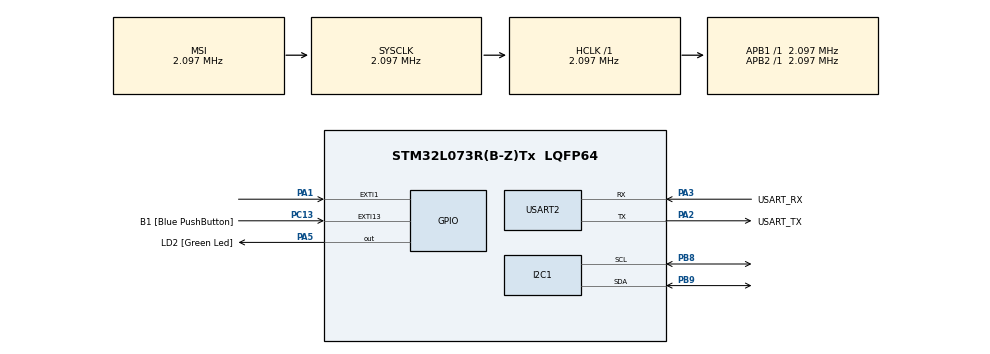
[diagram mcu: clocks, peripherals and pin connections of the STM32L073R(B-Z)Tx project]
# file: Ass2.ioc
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I2C1.Timing=0x00000608
Mcu.Family=STM32L0
Mcu.Name=STM32L073R(B-Z)Tx
Mcu.Package=LQFP64
NVIC.EXTI0_1_IRQn=true\:0\:0\:false\:false\:true\:true\:true\:true
PA1.GPIO_ModeDefaultEXTI=GPIO_MODE_IT_FALLING
PA1.GPIO_PuPd=GPIO_PULLUP
PA1.Signal=GPXTI1
PA13.GPIO_Label=TMS
PA13.Mode=Serial_Wire
PA13.Signal=SYS_SWDIO
PA14.GPIO_Label=TCK
PA14.Mode=Serial_Wire
PA14.Signal=SYS_SWCLK
PA2.GPIO_Label=USART_TX
PA2.Mode=Asynchronous
PA2.Signal=USART2_TX
PA3.GPIO_Label=USART_RX
PA3.Mode=Asynchronous
PA3.Signal=USART2_RX
PA5.GPIO_Label=LD2 [Green Led]
PA5.Signal=GPIO_Output
PB8.Mode=I2C
PB8.Signal=I2C1_SCL
PB9.Mode=I2C
PB9.Signal=I2C1_SDA
PC13.GPIO_Label=B1 [Blue PushButton]
PC13.GPIO_ModeDefaultEXTI=GPIO_MODE_IT_FALLING
PC13.Signal=GPXTI13
PC14-OSC32_IN.Mode=LSE-External-Oscillator
PC14-OSC32_IN.Signal=RCC_OSC32_IN
PC15-OSC32_OUT.Mode=LSE-External-Oscillator
PC15-OSC32_OUT.Signal=RCC_OSC32_OUT
PH0-OSC_IN.GPIO_Label=MCO
PH0-OSC_IN.Mode=HSE-External-Clock-Source
PH0-OSC_IN.Signal=RCC_OSC_IN
ProjectManager.HeapSize=0x200
ProjectManager.StackSize=0x400
ProjectManager.TargetToolchain=STM32CubeIDE
RCC.AHBFreq_Value=2097000
RCC.APB1Freq_Value=2097000
RCC.APB1TimFreq_Value=2097000
RCC.APB2Freq_Value=2097000
RCC.APB2TimFreq_Value=2097000
RCC.HSE_VALUE=8000000
RCC.HSI16_VALUE=16000000
RCC.HSI48_VALUE=48000000
RCC.HSI_VALUE=16000000
RCC.MSI_VALUE=2097000
RCC.SYSCLKFreq_VALUE=2097000
RCC.VCOOutputFreq_Value=48000000
USART2.VirtualMode-Asynchronous=VM_ASYNC
board=NUCLEO-L073RZ

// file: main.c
/* USER CODE BEGIN Header */
/**
  ******************************************************************************
  * @file           : main.c
  * @brief          : Main program body
  ******************************************************************************
  * @attention
  *
  * Copyright (c) 2024 STMicroelectronics.
  * All rights reserved.
  *
  * This software is licensed under terms that can be found in the LICENSE file
  * in the root directory of this software component.
  * If no LICENSE file comes with this software, it is provided AS-IS.
  *
  ******************************************************************************
  */
/* USER CODE END Header */
#include "main.h"

/* USER CODE BEGIN Includes */
#include "new_funcs.h"
#include <stdbool.h>
#include "filter.h"
#include <stdio.h>
#include <string.h>
/* USER CODE END Includes */

/* USER CODE BEGIN PD */
const float rThreshold = 0.7;

const float kLowPassCutoff = 5.0;   // 5 hz
const float kHighPassCutoff = 0.5;  // 0.5 hz
const float kSamplingFrequency = 400.0;
const float kEdgeThreshold = -2000.0;

const unsigned long kFingerThreshold = 10000;
const unsigned int kFingerCooldownMs = 500;

const float decayRate = 0.02;
const float thrRate = 0.05;
const int minDiff = 50;
const uint32_t fingerThreshold = 10000;  // threshold for detecting a finger on the sensor

float maxValue = 0;
float minValue = 0;
float threshold = 0;
long lastHeartbeat = 0;
float lastValue = 0;
int fingerDetected = 0;  // variable to track whether the finger is detected

float last_diff = NAN;
bool crossed = false;
long crossed_time = 0;
/* variables */
LowPassFilter low_pass_filter_red;
LowPassFilter low_pass_filter_ir;
HighPassFilter high_pass_filter;
LowPassFilter low_pass_filter;
Differentiator differentiator;
MovingAverageFilter moving_avg_filter;
MovingAverageFilter moving_avg_bpm;
MovingAverageFilter moving_avg_spo2;
/* statistic Variables */
MinMaxAvgStatistic stat_red;
MinMaxAvgStatistic stat_ir;

/* finger Detection */
long finger_timestamp = 0;
bool finger_detected = false;

/* mode */
#define	TEMPERATURE 1
#define HEARTRATE_SPO2 2

/* USER CODE END PD */

I2C_HandleTypeDef hi2c1;

UART_HandleTypeDef huart2;

/* USER CODE BEGIN PV */
// fnterrupt callback for PA1 external interrupt
void HAL_GPIO_EXTI_Callback(uint16_t GPIO_Pin) {
    if (GPIO_Pin == GPIO_PIN_1) {  // check if PA1 triggered the interrupt
    	// Debug message to check if interrupt is being triggered
    	__HAL_GPIO_EXTI_CLEAR_FLAG(GPIO_PIN_1);

    	        char debugMsg[] = "Interrupt Triggered!\r\n";
    	        HAL_UART_Transmit(&huart2, (uint8_t*)debugMsg, strlen(debugMsg), HAL_MAX_DELAY);

        uint8_t intStatus = 0;
        HAL_I2C_Mem_Read(&hi2c1, MAX30102_ADDRESS << 1, MAX30105_INTSTAT2, I2C_MEMADD_SIZE_8BIT, &intStatus, 1, HAL_MAX_DELAY);

        if (intStatus & MAX30105_INT_DIE_TEMP_RDY_ENABLE) {  // if temperature ready
            float temperature = MAX30102_ReadTemperature(&hi2c1);  // read temperature
            char uartBuf[100];
            sprintf(uartBuf, "Temperature: %.2f°C\r\n", temperature);
            HAL_UART_Transmit(&huart2, (uint8_t*)uartBuf, strlen(uartBuf), HAL_MAX_DELAY);
        }

    }
}

/* USER CODE END PV */

void SystemClock_Config(void);
static void MX_GPIO_Init(void);
static void MX_USART2_UART_Init(void);
static void MX_I2C1_Init(void);

/* USER CODE BEGIN 0 */
void measure_temperature(char* uartBuf) {
	// Measuring Temperature through interrupts
	  sprintf(uartBuf, "Waiting for Temperature.......\r\n");
	  HAL_UART_Transmit(&huart2, (uint8_t*)uartBuf, strlen(uartBuf), HAL_MAX_DELAY);

	 MAX30102_StartTemperatureMeasurement(&hi2c1);

	 HAL_Delay(1000);
}

void heart_rate_measurement(int current_value_red, int current_value_ir, char* uartBuf) {
	// Apply Filters to Red and IR signals
	  current_value_red = LowPassFilter_Process(&low_pass_filter_red, current_value_red);
	  current_value_ir = LowPassFilter_Process(&low_pass_filter_ir, current_value_ir);

	  // Update statistics for both Red and IR signals
	  MinMaxAvgStatistic_Process(&stat_red, current_value_red);
	  MinMaxAvgStatistic_Process(&stat_ir, current_value_ir);

	  // Apply High Pass Filter for heartbeat detection on the Red LED
	  float current_value = HighPassFilter_Process(&high_pass_filter, current_value_red);
	  float current_diff = Differentiator_Process(&differentiator, current_value);

	  if (!isnan(current_diff) && !isnan(last_diff)) {
		  // Detect heartbeat via zero-crossing
		  if (last_diff > 0 && current_diff < 0) {
			  crossed = true;
			  crossed_time = HAL_GetTick();
		  }

		  if (crossed && current_diff < kEdgeThreshold) {
			  if (lastHeartbeat != 0 && crossed_time - lastHeartbeat > 300) {
				  // Calculate heart rate (BPM)
				  int bpm = 60000 / (crossed_time - lastHeartbeat);

				  // Calculate R-values for SpO2 calculation
				  float rred = (MinMaxAvgStatistic_Maximum(&stat_red) - MinMaxAvgStatistic_Minimum(&stat_red)) / MinMaxAvgStatistic_Average(&stat_red);
				  float rir = (MinMaxAvgStatistic_Maximum(&stat_ir) - MinMaxAvgStatistic_Minimum(&stat_ir)) / MinMaxAvgStatistic_Average(&stat_ir);
				  float spo2 = calculate_SpO2(rred, rir);

				  if (bpm > 5 && bpm < 250) {
					  int avg_bpm = MovingAverageFilter_Process(&moving_avg_bpm, bpm);
					  int avg_spo2 = MovingAverageFilter_Process(&moving_avg_spo2, spo2);

					  // Transmit Heart Rate and SpO2 values via UART
	//									  sprintf(uartBuf, "Heart Rate: %d bpm, SpO2: %.2f%%\r\n", avg_bpm, avg_spo2);
					  sprintf(uartBuf, "Heart Rate: %d bpm, SpO2: %.2f%%\r\n", avg_bpm, (double)avg_spo2);

					  HAL_UART_Transmit(&huart2, (uint8_t*)uartBuf, strlen(uartBuf), HAL_MAX_DELAY);
				  }
			  }
			  crossed = false;
			  lastHeartbeat = crossed_time;
		  }
	  }
	  last_diff = current_diff;
}
/* USER CODE END 0 */

int main(void)
{

  /* MCU Configuration--------------------------------------------------------*/

  /* Reset of all peripherals, Initializes the Flash interface and the Systick. */
  HAL_Init();

  /* Configure the system clock */
  SystemClock_Config();

  /* Initialize all configured peripherals */
  MX_GPIO_Init();
  MX_USART2_UART_Init();
  MX_I2C1_Init();
  /* USER CODE BEGIN 2 */
	uint32_t redLED, irLED;
  // Initialize the MAX30102 sensor
  	MAX30102_Init(&hi2c1);
  		  // Initialize Filters
  	initialize_filters();

  	// enable the temperature interrupt on MAX30102
  	MAX30102_EnableTemperatureInterrupt(&hi2c1,&huart2);
	char uartBuf[100];  // buffer for  messages

//	int mode = TEMPERATURE;
	int mode = HEARTRATE_SPO2;

  /* USER CODE END 2 */

  /* Infinite loop */
  while (1)
  {

    /* USER CODE BEGIN 3 */
	  if(mode == TEMPERATURE) {
		  measure_temperature(uartBuf);
	  } else if(mode == HEARTRATE_SPO2){
//			uint32_t start_time = HAL_GetTick();
			MAX30102_ReadRawData(&redLED, &irLED,&hi2c1,&huart2);
			float current_value_red = (float)redLED;
			float current_value_ir = (float)irLED;

			// Check if a finger is detected
		  // Detect Finger using the Red LED value
		  if (current_value_red > kFingerThreshold) {
			  if (HAL_GetTick() - finger_timestamp > kFingerCooldownMs) {
				  finger_detected = true;
			  }
		  } else {
			  // Reset all values if the finger is removed
			  if (finger_detected && (HAL_GetTick() - finger_timestamp > 1000)) {
				  Differentiator_Reset(&differentiator);
				  MovingAverageFilter_Reset(&moving_avg_bpm);
				  MovingAverageFilter_Reset(&moving_avg_spo2);
				  LowPassFilter_Reset(&low_pass_filter_red);
				  LowPassFilter_Reset(&low_pass_filter_ir);
				  HighPassFilter_Reset(&high_pass_filter);
				  MinMaxAvgStatistic_Reset(&stat_red);
				  MinMaxAvgStatistic_Reset(&stat_ir);

				  finger_detected = false;
				  finger_timestamp = HAL_GetTick();
			  }
		  }

		  if (finger_detected) {
			  heart_rate_measurement(current_value_red, current_value_ir, uartBuf);
		  }
	  }

  }
  /* USER CODE END 3 */
}

void SystemClock_Config(void)
{
  RCC_OscInitTypeDef RCC_OscInitStruct = {0};
  RCC_ClkInitTypeDef RCC_ClkInitStruct = {0};
  RCC_PeriphCLKInitTypeDef PeriphClkInit = {0};

  /** Configure the main internal regulator output voltage
  */
  __HAL_PWR_VOLTAGESCALING_CONFIG(PWR_REGULATOR_VOLTAGE_SCALE1);

  /** Initializes the RCC Oscillators according to the specified parameters
  * in the RCC_OscInitTypeDef structure.
  */
  RCC_OscInitStruct.OscillatorType = RCC_OSCILLATORTYPE_MSI;
  RCC_OscInitStruct.MSIState = RCC_MSI_ON;
  RCC_OscInitStruct.MSICalibrationValue = 0;
  RCC_OscInitStruct.MSIClockRange = RCC_MSIRANGE_5;
  RCC_OscInitStruct.PLL.PLLState = RCC_PLL_NONE;
  if (HAL_RCC_OscConfig(&RCC_OscInitStruct) != HAL_OK)
  {
    Error_Handler();
  }

  /** Initializes the CPU, AHB and APB buses clocks
  */
  RCC_ClkInitStruct.ClockType = RCC_CLOCKTYPE_HCLK|RCC_CLOCKTYPE_SYSCLK
                              |RCC_CLOCKTYPE_PCLK1|RCC_CLOCKTYPE_PCLK2;
  RCC_ClkInitStruct.SYSCLKSource = RCC_SYSCLKSOURCE_MSI;
  RCC_ClkInitStruct.AHBCLKDivider = RCC_SYSCLK_DIV1;
  RCC_ClkInitStruct.APB1CLKDivider = RCC_HCLK_DIV1;
  RCC_ClkInitStruct.APB2CLKDivider = RCC_HCLK_DIV1;

  if (HAL_RCC_ClockConfig(&RCC_ClkInitStruct, FLASH_LATENCY_0) != HAL_OK)
  {
    Error_Handler();
  }
  PeriphClkInit.PeriphClockSelection = RCC_PERIPHCLK_USART2|RCC_PERIPHCLK_I2C1;
  PeriphClkInit.Usart2ClockSelection = RCC_USART2CLKSOURCE_PCLK1;
  PeriphClkInit.I2c1ClockSelection = RCC_I2C1CLKSOURCE_PCLK1;
  if (HAL_RCCEx_PeriphCLKConfig(&PeriphClkInit) != HAL_OK)
  {
    Error_Handler();
  }
}

static void MX_I2C1_Init(void)
{

  hi2c1.Instance = I2C1;
  hi2c1.Init.Timing = 0x00000608;
  hi2c1.Init.OwnAddress1 = 0;
  hi2c1.Init.AddressingMode = I2C_ADDRESSINGMODE_7BIT;
  hi2c1.Init.DualAddressMode = I2C_DUALADDRESS_DISABLE;
  hi2c1.Init.OwnAddress2 = 0;
  hi2c1.Init.OwnAddress2Masks = I2C_OA2_NOMASK;
  hi2c1.Init.GeneralCallMode = I2C_GENERALCALL_DISABLE;
  hi2c1.Init.NoStretchMode = I2C_NOSTRETCH_DISABLE;
  if (HAL_I2C_Init(&hi2c1) != HAL_OK)
  {
    Error_Handler();
  }

  /** Configure Analogue filter
  */
  if (HAL_I2CEx_ConfigAnalogFilter(&hi2c1, I2C_ANALOGFILTER_ENABLE) != HAL_OK)
  {
    Error_Handler();
  }

  /** Configure Digital filter
  */
  if (HAL_I2CEx_ConfigDigitalFilter(&hi2c1, 0) != HAL_OK)
  {
    Error_Handler();
  }

}

static void MX_USART2_UART_Init(void)
{

  huart2.Instance = USART2;
  huart2.Init.BaudRate = 115200;
  huart2.Init.WordLength = UART_WORDLENGTH_8B;
  huart2.Init.StopBits = UART_STOPBITS_1;
  huart2.Init.Parity = UART_PARITY_NONE;
  huart2.Init.Mode = UART_MODE_TX_RX;
  huart2.Init.HwFlowCtl = UART_HWCONTROL_NONE;
  huart2.Init.OverSampling = UART_OVERSAMPLING_16;
  huart2.Init.OneBitSampling = UART_ONE_BIT_SAMPLE_DISABLE;
  huart2.AdvancedInit.AdvFeatureInit = UART_ADVFEATURE_NO_INIT;
  if (HAL_UART_Init(&huart2) != HAL_OK)
  {
    Error_Handler();
  }

}

static void MX_GPIO_Init(void)
{
  GPIO_InitTypeDef GPIO_InitStruct = {0};

  /* GPIO Ports Clock Enable */
  __HAL_RCC_GPIOC_CLK_ENABLE();
  __HAL_RCC_GPIOH_CLK_ENABLE();
  __HAL_RCC_GPIOA_CLK_ENABLE();
  __HAL_RCC_GPIOB_CLK_ENABLE();

  /*Configure GPIO pin Output Level */
  HAL_GPIO_WritePin(LD2_GPIO_Port, LD2_Pin, GPIO_PIN_RESET);

  /*Configure GPIO pin : B1_Pin */
  GPIO_InitStruct.Pin = B1_Pin;
  GPIO_InitStruct.Mode = GPIO_MODE_IT_FALLING;
  GPIO_InitStruct.Pull = GPIO_NOPULL;
  HAL_GPIO_Init(B1_GPIO_Port, &GPIO_InitStruct);

  /*Configure GPIO pin : PA1 */
  GPIO_InitStruct.Pin = GPIO_PIN_1;
  GPIO_InitStruct.Mode = GPIO_MODE_IT_FALLING;
  GPIO_InitStruct.Pull = GPIO_PULLUP;
  HAL_GPIO_Init(GPIOA, &GPIO_InitStruct);

  /*Configure GPIO pin : LD2_Pin */
  GPIO_InitStruct.Pin = LD2_Pin;
  GPIO_InitStruct.Mode = GPIO_MODE_OUTPUT_PP;
  GPIO_InitStruct.Pull = GPIO_NOPULL;
  GPIO_InitStruct.Speed = GPIO_SPEED_FREQ_LOW;
  HAL_GPIO_Init(LD2_GPIO_Port, &GPIO_InitStruct);

  /* EXTI interrupt init*/
  HAL_NVIC_SetPriority(EXTI0_1_IRQn, 0, 0);
  HAL_NVIC_EnableIRQ(EXTI0_1_IRQn);

}

void Error_Handler(void)
{
  __disable_irq();
  while (1)
  {
  }
}
